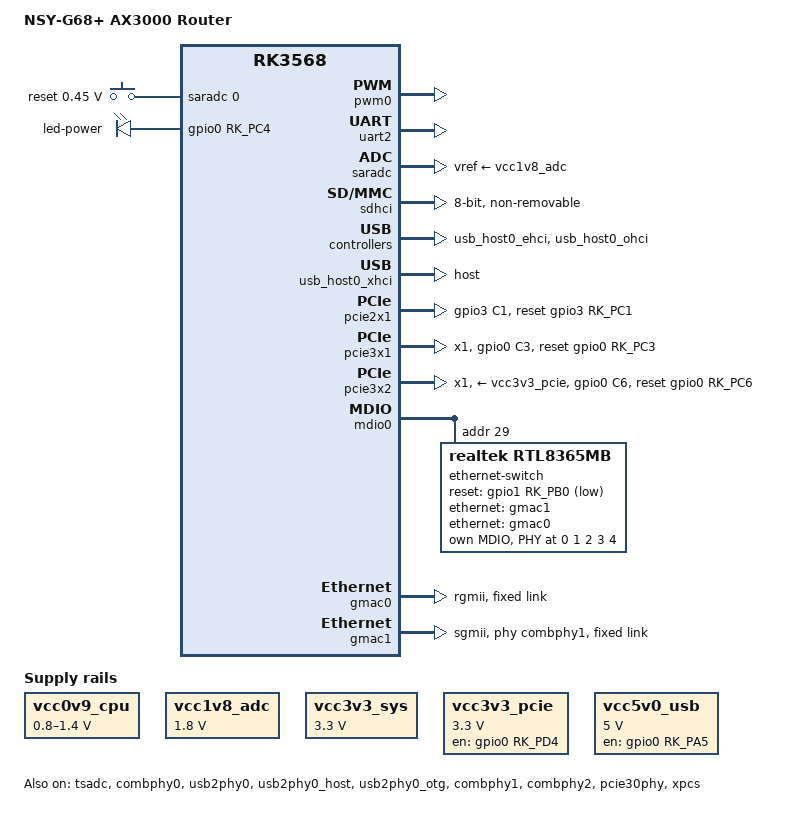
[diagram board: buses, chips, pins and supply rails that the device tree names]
// SPDX-License-Identifier: (GPL-2.0+ OR MIT)

/dts-v1/;

#include <dt-bindings/gpio/gpio.h>
#include <dt-bindings/pwm/pwm.h>
#include <dt-bindings/leds/common.h>
#include <dt-bindings/input/input.h>
#include <dt-bindings/pinctrl/rockchip.h>
#include "rockchip/rk3568.dtsi"

/ {
	model = "NSY-G68+ AX3000 Router";
	compatible = "nsy,g68plus", "rockchip,rk3568";

	aliases {
		mmc0 = &sdhci;
		ethernet0 = &gmac0;
		ethernet1 = &gmac1;
	};

	chosen: chosen {
		stdout-path = "serial2:1500000n8";
	};

	vcc0v9_cpu: regulator-cpu {
		compatible = "pwm-regulator";
		rockchip,pwm_id = <0>;
		rockchip,pwm_voltage = <900000>;
		pwms = <&pwm0 0 25000 1>;
		regulator-name = "vcc0v9_cpu";
		regulator-boot-on;
		regulator-always-on;
		regulator-min-microvolt = <800000>;
		regulator-max-microvolt = <1400000>;
		regulator-init-microvolt = <1150000>;
		regulator-enable-ramp-delay = <300>;
		regulator-ramp-delay = <8000>;
	};

	vcc1v8_adc: regulator-adc {
		compatible = "regulator-fixed";
		regulator-name = "vcc1v8_adc";
		regulator-boot-on;
		regulator-always-on;
		regulator-min-microvolt = <1800000>;
		regulator-max-microvolt = <1800000>;
	};

	vcc3v3_sys: regulator-sys {
		compatible = "regulator-fixed";
		regulator-name = "vcc3v3_sys";
		regulator-boot-on;
		regulator-always-on;
		regulator-min-microvolt = <3300000>;
		regulator-max-microvolt = <3300000>;
	};

	vcc3v3_pcie: regulator-pcie {
		compatible = "regulator-fixed";
		regulator-name = "vcc3v3_pcie";
		regulator-boot-on;
		regulator-always-on;
		regulator-min-microvolt = <3300000>;
		regulator-max-microvolt = <3300000>;
		enable-active-high;
		gpio = <&gpio0 RK_PD4 GPIO_ACTIVE_HIGH>;
		startup-delay-us = <5000>;
		pinctrl-names = "default";
		pinctrl-0 = <&pcie_pwren>;
	};

	vcc5v0_usb: regulator-usb {
		compatible = "regulator-fixed";
		regulator-name = "vcc5v0_usb";
		regulator-boot-on;
		regulator-always-on;
		regulator-min-microvolt = <5000000>;
		regulator-max-microvolt = <5000000>;
		enable-active-high;
		gpio = <&gpio0 RK_PA5 GPIO_ACTIVE_HIGH>;
		pinctrl-names = "default";
		pinctrl-0 = <&usb0_pwren>;
	};

	adc_keys: adc-keys {
		status = "okay";
		compatible = "adc-keys";
		poll-interval = <100>;
		io-channels = <&saradc 0>;
		io-channel-names = "buttons";
		keyup-threshold-microvolt = <1800000>;

		recovery-key {
			label = "reset";
			linux,code = <KEY_RESTART>;
			press-threshold-microvolt = <450000>;
		};
	};

	leds {
		compatible = "gpio-leds";
		led-power {
			label = "led-power";
			default-state = "on";
			gpios = <&gpio0 RK_PC4 GPIO_ACTIVE_HIGH>;
			pinctrl-names = "default";
			pinctrl-0 = <&led_power>;
		};
		/*
		led-system is controlled by mt7916
		 */
	};
};

&pwm0 {
	status = "okay";
};

&cpu0 {
	cpu-supply = <&vcc0v9_cpu>;
};

&cpu1 {
	cpu-supply = <&vcc0v9_cpu>;
};

&cpu2 {
	cpu-supply = <&vcc0v9_cpu>;
};

&cpu3 {
	cpu-supply = <&vcc0v9_cpu>;
};

&pmu_io_domains {
	status = "okay";
	pmuio2-supply = <&vcc3v3_sys>;
	vccio1-supply = <&vcc3v3_sys>;
	vccio3-supply = <&vcc3v3_sys>;
	vccio4-supply = <&vcc3v3_sys>;
	vccio5-supply = <&vcc3v3_sys>;
	vccio6-supply = <&vcc3v3_sys>;
	vccio7-supply = <&vcc3v3_sys>;
};

//On-board UART
&uart2 {
	status = "okay";
};

//Reset Key
&saradc {
	status = "okay";
	vref-supply = <&vcc1v8_adc>;
};

//Pinctrl
&pinctrl {
	usb {
		usb0_pwren: usb0-pwren {
			rockchip,pins = <0 RK_PA5 RK_FUNC_GPIO &pcfg_pull_none>;
		};
	};

	regulator-en {
		pcie_pwren: pcie-pwren {
			rockchip,pins = <0 RK_PD4 RK_FUNC_GPIO &pcfg_pull_none>;
		};
	};

	pcie {
		pcie2x1_reset: pcie2x1-reset {
			rockchip,pins = <3 RK_PC1 RK_FUNC_GPIO &pcfg_pull_none>;
		};
		pcie30x1_reset: pcie30x1-reset {
			rockchip,pins = <0 RK_PC3 RK_FUNC_GPIO &pcfg_pull_none>;
		};
		pcie30x2_reset: pcie30x2-reset {
			rockchip,pins = <0 RK_PC6 RK_FUNC_GPIO &pcfg_pull_none>;
		};
	};

	gmac-reset {
		gmac0_reset: gmac0-reset {
			rockchip,pins = <1 RK_PB0 RK_FUNC_GPIO &pcfg_pull_none>;
		};
	};

	leds {
		led_power: led-power {
			rockchip,pins = <0 RK_PC4 RK_FUNC_GPIO &pcfg_pull_none>;
		};
	};
};

//On-board eMMC
&sdhci {
	status = "okay";
	bus-width = <8>;
	no-sd;
	no-sdio;
	non-removable;
	supports-emmc;
	cap-mmc-highspeed;
	mmc-ddr-1_8v;
	mmc-hs200-1_8v;
	max-frequency = <200000000>;
	pinctrl-names = "default";
	pinctrl-0 = <&emmc_bus8 &emmc_clk &emmc_cmd &emmc_datastrobe>;
};

//Internal
&tsadc {
	status = "okay";
	rockchip,hw-tshut-mode = <1>;
	rockchip,hw-tshut-polarity = <0>;
};

//USB2.0
&usb_host0_ehci {
	status = "okay";
};

&usb_host0_ohci {
	status = "okay";
};

//3x MULTI_PHY
&combphy0 { //configured as USB3.0 otg, work in host mode
	status = "okay";
};

&usb_host0_xhci {
	status = "okay";
	dr_mode = "host";
	extcon = <&usb2phy0>;
};

&usb2phy0 {
	status = "okay";
};

&usb2phy0_host {
	status = "okay";
	phy-supply = <&vcc5v0_usb>;
};

&usb2phy0_otg {
	status = "okay";
};

&combphy1 { //configured as SGMII
	status = "okay";
	rockchip,sgmii-mac-sel = <1>;
};

&combphy2 { //configured as PCIE2.0x1
	status = "okay";
};

&pcie2x1 { //wifi0
	status = "okay";
	rockchip,perst-inactive-ms = <500>;
	reset-gpios = <&gpio3 RK_PC1 GPIO_ACTIVE_HIGH>;
	pinctrl-names = "default";
	pinctrl-0 = <&pcie2x1_reset>;
};

//2x PCIE3.0x1
&pcie30phy {
	status = "okay";
	data-lanes = <1 2>;
};

&pcie3x1 { //wifi1
	status = "okay";
	num-lanes = <0x1>;
	reset-gpios = <&gpio0 RK_PC3 GPIO_ACTIVE_HIGH>;
	pinctrl-names = "default";
	pinctrl-0 = <&pcie30x1_reset>;
};

&pcie3x2 { //nvme0
	status = "okay";
	num-lanes = <0x1>;
	vpcie3v3-supply = <&vcc3v3_pcie>;
	reset-gpios = <&gpio0 RK_PC6 GPIO_ACTIVE_HIGH>;
	pinctrl-names = "default";
	pinctrl-0 = <&pcie30x2_reset>;
};

//Dual Ethernet MAC
&mdio0 {
	status = "okay";
	#address-cells = <1>;
	#size-cells = <0>;
	ethernet-switch@1d {
		compatible = "realtek,rtl8365mb";
		reg = <29>;
		reset-assert-us = <20000>;
		reset-deassert-us = <1000000>;
		reset-gpios = <&gpio1 RK_PB0 GPIO_ACTIVE_LOW>;
		pinctrl-names = "default";
		pinctrl-0 = <&gmac0_reset>;

		ethernet-ports {
			#address-cells = <1>;
			#size-cells = <0>;
			ethernet-port@0 {
				reg = <0>;
				label = "lan3";
				phy-handle = <&switchphy0>;
			};
			ethernet-port@1 {
				reg = <1>;
				label = "lan2";
				phy-handle = <&switchphy1>;
			};
			ethernet-port@2 {
				reg = <2>;
				label = "lan1";
				phy-handle = <&switchphy2>;
			};
			ethernet-port@3 {
				reg = <3>;
				label = "lan0";
				phy-handle = <&switchphy3>;
			};
			ethernet-port@4 {
				reg = <4>;
				label = "wan";
				phy-handle = <&switchphy4>;
			};
			ethernet-port@6 {
				reg = <6>;
				ethernet = <&gmac1>;
				phy-mode = "sgmii";
				fixed-link {
					speed = <1000>;
					full-duplex;
				};
			};
			ethernet-port@7 {
				reg = <7>;
				ethernet = <&gmac0>;
				phy-mode = "rgmii";
				tx-internal-delay-ps = <0>;
				rx-internal-delay-ps = <0>;
				fixed-link {
					speed = <1000>;
					full-duplex;
				};
			};
		};

		mdio {
			#address-cells = <1>;
			#size-cells = <0>;
			switchphy0: ethernet-phy@0 {
				reg = <0>;
			};
			switchphy1: ethernet-phy@1 {
				reg = <1>;
			};
			switchphy2: ethernet-phy@2 {
				reg = <2>;
			};
			switchphy3: ethernet-phy@3 {
				reg = <3>;
			};
			switchphy4: ethernet-phy@4 {
				reg = <4>;
			};
		};

		leds {
			#address-cells = <1>;
			#size-cells = <0>;
			led-link-spd {
				reg = <0>;
				type = <0x9>;
				port = <0x1f>;
			};
			led-link-txd {
				reg = <1>;
				type = <0x3>;
				port = <0x1f>;
			};
			led-link-act {
				reg = <2>;
				type = <0x2>;
				port = <0x1f>;
			};
		};
	};
};

&gmac0 {
	status = "okay";
	phy-mode = "rgmii";
	clock_in_out = "output";
	assigned-clocks = <&cru SCLK_GMAC0_RX_TX &cru SCLK_GMAC0>;
	assigned-clock-rates = <0 125000000>;
	assigned-clock-parents = <&cru SCLK_GMAC0_RGMII_SPEED>;
	tx_delay = <0x4f>;
	rx_delay = <0x0f>;
	pinctrl-names = "default";
	pinctrl-0 = <&gmac0_miim &gmac0_tx_bus2 &gmac0_rx_bus2 &gmac0_rgmii_clk &gmac0_rgmii_bus>;

	fixed-link {
		speed = <1000>;
		full-duplex;
	};
};

&xpcs {
	status = "okay";
};

&gmac1 {
	status = "okay";
	phy-mode = "sgmii";
	rockchip,xpcs = <&xpcs>;
	rockchip,pipegrf = <&pipegrf>;
	phys = <&combphy1 PHY_TYPE_SGMII>;
	power-domains = <&power RK3568_PD_PIPE>;
	assigned-clocks = <&cru SCLK_GMAC1_RX_TX>;
	assigned-clock-parents = <&gmac1_xpcsclk>;
	pinctrl-names = "default";
	pinctrl-0 = <&gmac1m1_miim>;

	fixed-link {
		speed = <1000>;
		full-duplex;
	};
};
